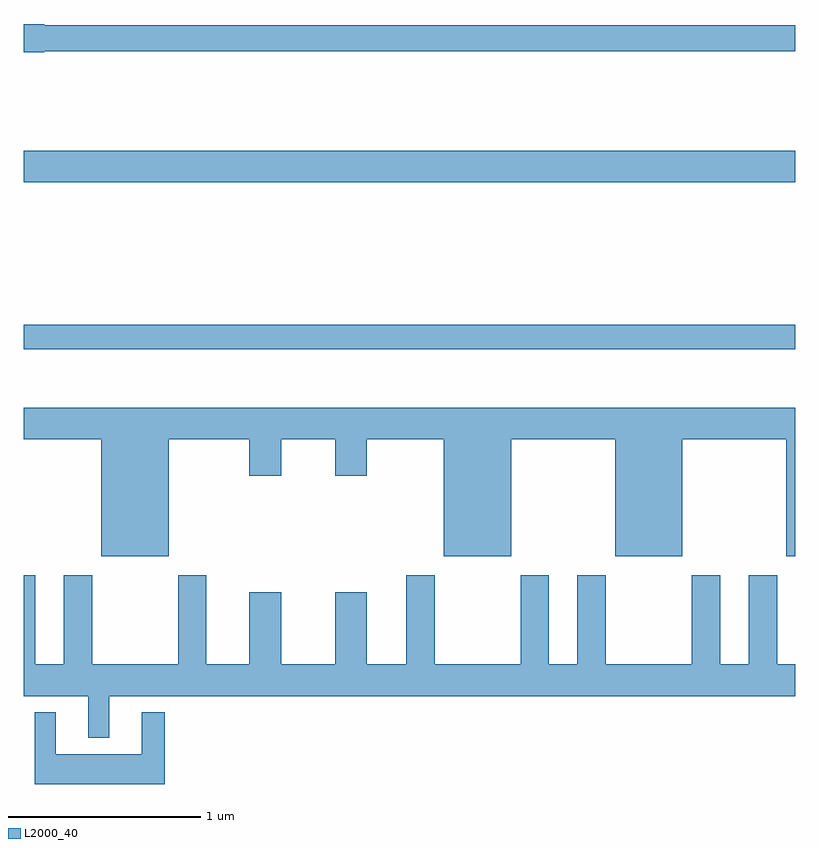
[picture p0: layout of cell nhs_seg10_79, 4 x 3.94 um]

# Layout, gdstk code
import gdstk
lib = gdstk.Library(unit=1e-6, precision=1e-09)
def R(c, l, rs):  # rectangles x0, y0, x1, y1
    for r in rs: c.add(gdstk.rectangle(r[:2], r[2:], *l))
def P(c, l, *ps):  # polygons
    for p in ps: c.add(gdstk.Polygon(p, *l))
L2000_40 = (2000, 40)

nhs_seg10_79 = lib.new_cell('nhs_seg10_79')
R(nhs_seg10_79, L2000_40, [(113,1328.754,117,1328.882), (113,1329.62,117,1329.784)])
P(nhs_seg10_79, L2000_40, [(113.106,1330.3),(117,1330.3),(117,1330.436),(113.106,1330.436),(113.106,1330.442),(113,1330.442),(113,1330.295),(113.106,1330.295)],
  [(113.752,1328.288),(114.17,1328.288),(114.17,1328.1),(114.334,1328.1),(114.334,1328.288),(114.614,1328.288),(114.614,1328.1),(114.778,1328.1),(114.778,1328.288),(115.178,1328.288),(115.178,1327.682),(115.528,1327.682),(115.528,1328.288),(116.066,1328.288),(116.066,1327.682),(116.416,1327.682),(116.416,1328.288),(116.954,1328.288),(116.954,1327.682),(117,1327.682),(117,1328.452),(113,1328.452),(113,1328.288),(113.402,1328.288),(113.402,1327.682),(113.752,1327.682)],
  [(113.443,1326.956),(117,1326.956),(117,1327.12),(116.907,1327.12),(116.907,1327.582),(116.759,1327.582),(116.759,1327.12),(116.611,1327.12),(116.611,1327.582),(116.464,1327.582),(116.464,1327.12),(116.019,1327.12),(116.019,1327.582),(115.871,1327.582),(115.871,1327.12),(115.723,1327.12),(115.723,1327.582),(115.576,1327.582),(115.576,1327.12),(115.131,1327.12),(115.131,1327.582),(114.983,1327.582),(114.983,1327.12),(114.778,1327.12),(114.778,1327.495),(114.614,1327.495),(114.614,1327.12),(114.334,1327.12),(114.334,1327.495),(114.17,1327.495),(114.17,1327.12),(113.947,1327.12),(113.947,1327.582),(113.8,1327.582),(113.8,1327.12),(113.355,1327.12),(113.355,1327.582),(113.207,1327.582),(113.207,1327.12),(113.059,1327.12),(113.059,1327.582),(113,1327.582),(113,1326.956),(113.333,1326.956),(113.333,1326.74),(113.443,1326.74)],
  [(113.731,1326.871),(113.612,1326.871),(113.612,1326.655),(113.164,1326.655),(113.164,1326.871),(113.057,1326.871),(113.057,1326.5),(113.731,1326.5)])

lib.write_gds('nhs_seg10_79.gds')
